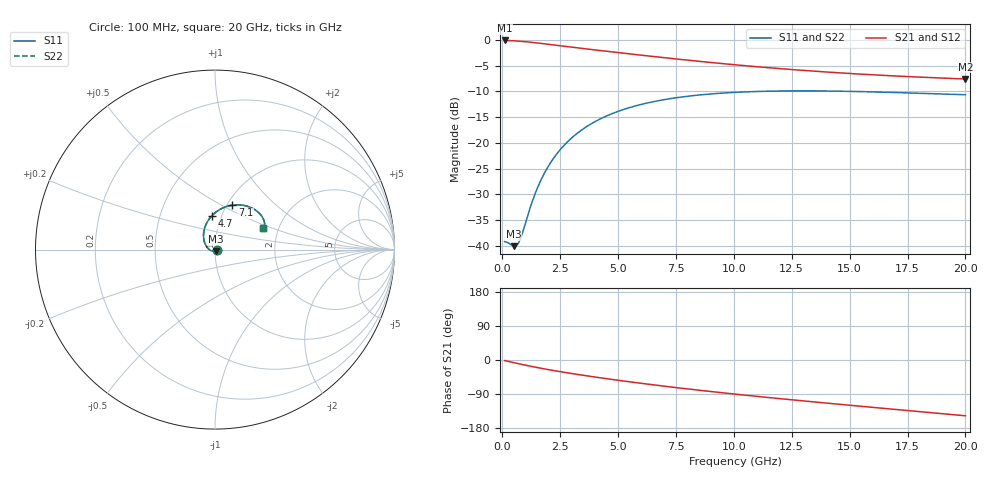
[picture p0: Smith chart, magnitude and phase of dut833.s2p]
! Touchstone file exported from HFSS 2024.1.0
!  File:  C:/UserFiles/LocalFiles/RDL_TSV_Batchsim/temp_RDL_TSV_833_1779918286.aedt
!  Generated:  05:58:06 AM May 28, 2026
!  Design:  RDL_TSV
!  Project:  temp_RDL_TSV_833_1779918286
!  Setup:  Setup1
!  Solution:  Sweep
! Variables:
!  dtsv = 11.9um
!  hbump = 3um
!  htsv = 77.64um
!  ldown = 324.03um
!  lrdl = 198.56um
!  p = 40
!  p1 = 47.31um
!  rhole = 10um
!  subl = 1766.33um
!  t = 450um
!  tdown = 4.83um
!  trdl = 4.45um
!  viad = 10um
!  wdown = 10.06um
!  wrdl = 18.55um
!  xbump = 18um
# GHz S MA R 50.000000
! Terminal data exported
! Port[1] = TM1_1_T1
! Port[2] = TM1_4_T1
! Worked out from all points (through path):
!   200 points, 100 MHz to 20 GHz, reference 50 ohm
!   highest |S21| = -0.10 dB at 100 MHz (marker M1); lowest = -7.6 dB at 20 GHz (marker M2)
!   group delay of S21, straight-line fit = 19.1 ps
!   lowest |S11| = -40.1 dB at 500 MHz (marker M3), VSWR 1.02, Z = 50.5 - j0.882 ohm
!   |S11| at or under -10 dB: start of sweep to 11.13 GHz; 15.07 GHz to end of sweep
!   |S22| runs from -40.1 to -9.9 dB; largest |S21 - S12| = 1.1e-14
!   S11 on the Smith chart (normalised r, x): 100 MHz: 1.02, -0.00; 4.7 GHz: 0.90, +0.36; 7.1 GHz: 1.06, +0.56; 20 GHz: 1.66, +0.43
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0.1  0.01098 -9.5  0.9886 -1.4  0.9886 -1.4  0.01098 -9.5
! Gamma 0 0 0 0
! Port Impedance 50 0 50 0
0.5  0.009902 -61.9  0.9807 -7.0  0.9807 -7.0  0.009901 -61.9
0.6  0.009968 -80.1  0.9776 -8.4  0.9776 -8.4  0.009966 -80.1
0.7  0.01059 -99.1  0.9741 -9.8  0.9741 -9.8  0.01059 -99.1
0.8  0.01192 -117.1  0.9702 -11.1  0.9702 -11.1  0.01191 -117.1
1.2  0.02324 -165.5  0.9516 -16.2  0.9516 -16.2  0.02324 -165.5
1.4  0.03126 -179.7  0.9409 -18.7  0.9409 -18.7  0.03125 -179.7
1.7  0.04494 164.6  0.9241 -22.2  0.9241 -22.2  0.04492 164.5
2  0.05982 152.5  0.9068 -25.5  0.9068 -25.5  0.0598 152.5
2.3  0.07533 142.6  0.8896 -28.7  0.8896 -28.7  0.0753 142.6
2.7  0.09628 131.6  0.8671 -32.8  0.8671 -32.8  0.09624 131.6
3.5  0.1369 114.2  0.8247 -40.4  0.8247 -40.4  0.1369 114.2
4.1  0.165 103.8  0.7951 -45.8  0.7951 -45.8  0.1649 103.8
4.7  0.1905 94.9  0.7671 -51.0  0.7671 -51.0  0.1904 94.9
5.7  0.2269 82.5  0.7234 -59.2  0.7234 -59.2  0.2267 82.5
6.8  0.2583 71.5  0.6794 -67.7  0.6794 -67.7  0.2581 71.4
7.1  0.2655 68.8  0.6682 -69.9  0.6682 -69.9  0.2653 68.8
8.6  0.2932 57.4  0.6164 -80.5  0.6164 -80.5  0.2929 57.3
10.1  0.3098 48.3  0.5721 -90.4  0.5721 -90.4  0.3095 48.3
13.4  0.3199 34.4  0.4984 -110.3  0.4984 -110.3  0.3196 34.4
16.7  0.3096 26.5  0.4497 -128.9  0.4497 -128.9  0.3092 26.5
20  0.2933 23.7  0.4175 -147.2  0.4175 -147.2  0.293 23.7
